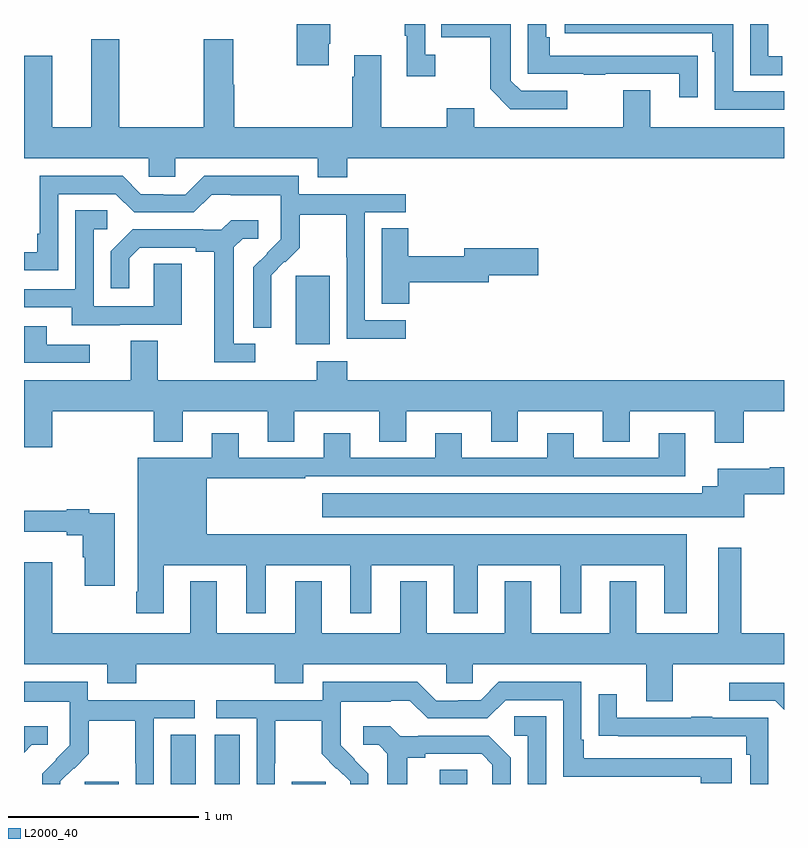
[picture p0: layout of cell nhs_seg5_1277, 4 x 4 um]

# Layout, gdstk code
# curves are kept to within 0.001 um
import gdstk
lib = gdstk.Library(unit=1e-6, precision=1e-09)
def R(c, l, rs):  # rectangles x0, y0, x1, y1
    for r in rs: c.add(gdstk.rectangle(r[:2], r[2:], *l))
def P(c, l, *ps):  # polygons
    for p in ps: c.add(gdstk.Polygon(p, *l))
L2000_40 = (2000, 40)

nhs_seg5_1277 = lib.new_cell('nhs_seg5_1277')
R(nhs_seg5_1277, L2000_40, [(189.32,854.799,189.499,854.811), (189.773,854.799,189.904,855.059), (190.004,854.799,190.135,855.059), (190.409,854.799,190.588,854.811), (191.189,854.799,191.334,854.873), (190.43,857.114,190.609,857.475)])
P(nhs_seg5_1277, L2000_40, [(192.991,858.63),(192.918,858.63),(192.918,858.799),(192.822,858.799),(192.822,858.529),(192.991,858.529)],
  [(193,858.444),(192.732,858.444),(192.732,858.799),(191.847,858.799),(191.847,858.75),(192.623,858.75),(192.623,858.653),(192.636,858.653),(192.636,858.348),(193,858.348)],
  [(191.164,858.638),(191.112,858.638),(191.112,858.799),(191.004,858.799),(191.004,858.737),(191.015,858.737),(191.015,858.525),(191.164,858.525)],
  [(190.603,858.694),(190.611,858.694),(190.611,858.799),(190.436,858.799),(190.436,858.582),(190.603,858.582)],
  [(191.86,858.447),(191.616,858.447),(191.562,858.501),(191.562,858.799),(191.197,858.799),(191.197,858.73),(191.454,858.73),(191.454,858.457),(191.559,858.351),(191.86,858.351)],
  [(192.545,858.632),(192.443,858.632),(192.443,858.633),(191.768,858.633),(191.768,858.73),(191.748,858.73),(191.748,858.799),(191.652,858.799),(191.652,858.537),(191.947,858.537),(191.947,858.532),(192.059,858.532),(192.059,858.537),(192.449,858.537),(192.449,858.414),(192.545,858.414)],
  [(190.547,857.993),(190.7,857.993),(190.7,858.092),(193,858.092),(193,858.256),(192.295,858.256),(192.295,858.451),(192.155,858.451),(192.155,858.256),(191.371,858.256),(191.371,858.355),(191.224,858.355),(191.224,858.256),(190.879,858.256),(190.879,858.634),(190.739,858.634),(190.739,858.521),(190.727,858.521),(190.727,858.256),(190.106,858.256),(190.106,858.479),(190.101,858.479),(190.101,858.718),(189.946,858.718),(189.946,858.256),(189.501,858.256),(189.501,858.718),(189.353,858.718),(189.353,858.256),(189.148,858.256),(189.148,858.631),(189,858.631),(189,858.092),(189.657,858.092),(189.657,857.994),(189.795,857.994),(189.795,858.092),(190.547,858.092)],
  [(191.008,857.241),(190.794,857.241),(190.794,857.808),(191.008,857.808),(191.008,857.904),(190.446,857.904),(190.446,858.001),(189.949,858.001),(189.849,857.901),(189.734,857.901),(189.734,857.904),(189.615,857.904),(189.519,858),(189.084,858),(189.084,857.695),(189.071,857.695),(189.071,857.598),(189,857.598),(189,857.502),(189.18,857.502),(189.18,857.904),(189.483,857.904),(189.579,857.808),(189.894,857.808),(189.987,857.901),(190.087,857.901),(190.087,857.897),(190.35,857.897),(190.35,857.763),(190.352,857.763),(190.352,857.666),(190.206,857.518),(190.206,857.2),(190.302,857.2),(190.301,857.477),(190.371,857.547),(190.374,857.544),(190.451,857.621),(190.451,857.796),(190.696,857.796),(190.696,857.572),(190.698,857.572),(190.698,857.143),(191.008,857.143)],
  [(189.505,857.217),(189.829,857.217),(189.829,857.537),(189.684,857.537),(189.684,857.313),(189.366,857.313),(189.366,857.718),(189.439,857.718),(189.439,857.819),(189.27,857.819),(189.27,857.403),(189,857.403),(189,857.307),(189.251,857.307),(189.251,857.213),(189.505,857.213)],
  [(190.216,857.115),(190.105,857.115),(190.105,857.623),(190.152,857.67),(190.234,857.67),(190.234,857.767),(190.09,857.767),(190.038,857.715),(189.944,857.715),(189.944,857.718),(189.572,857.718),(189.456,857.602),(189.456,857.409),(189.553,857.409),(189.553,857.565),(189.61,857.622),(189.905,857.622),(189.905,857.6),(190.001,857.6),(190.001,857.019),(190.216,857.019)],
  [(191.027,857.44),(191.446,857.44),(191.446,857.477),(191.707,857.477),(191.707,857.619),(191.318,857.619),(191.318,857.576),(191.022,857.576),(191.022,857.723),(190.883,857.723),(190.883,857.326),(191.027,857.326)],
  [(189.346,857.112),(189.121,857.112),(189.121,857.208),(189,857.208),(189,857.016),(189.346,857.016)],
  [(189,856.572),(189.148,856.572),(189.148,856.76),(189.683,856.76),(189.683,856.601),(189.835,856.601),(189.835,856.76),(190.283,856.76),(190.283,856.6),(190.423,856.6),(190.423,856.76),(190.871,856.76),(190.871,856.6),(191.011,856.6),(191.011,856.76),(191.459,856.76),(191.459,856.6),(191.599,856.6),(191.599,856.76),(192.047,856.76),(192.047,856.6),(192.187,856.6),(192.187,856.76),(192.635,856.76),(192.635,856.596),(192.788,856.596),(192.788,856.76),(193,856.76),(193,856.924),(190.7,856.924),(190.7,857.023),(190.54,857.023),(190.54,856.924),(189.703,856.924),(189.703,857.132),(189.563,857.132),(189.563,856.924),(189,856.924)],
  [(189.736,855.95),(190.169,855.95),(190.169,855.699),(190.273,855.699),(190.273,855.95),(190.718,855.95),(190.718,855.699),(190.828,855.699),(190.828,855.95),(191.261,855.95),(191.261,855.699),(191.389,855.699),(191.389,855.95),(191.822,855.95),(191.822,855.699),(191.932,855.699),(191.932,855.95),(192.371,855.95),(192.371,855.699),(192.487,855.699),(192.487,856.114),(189.961,856.114),(189.961,856.407),(190.481,856.407),(190.481,856.419),(192.481,856.419),(192.481,856.645),(192.341,856.645),(192.341,856.515),(191.893,856.515),(191.893,856.645),(191.753,856.645),(191.753,856.515),(191.305,856.515),(191.305,856.645),(191.165,856.645),(191.165,856.515),(190.717,856.515),(190.717,856.645),(190.577,856.645),(190.577,856.515),(190.129,856.515),(190.129,856.645),(189.989,856.645),(189.989,856.516),(189.599,856.516),(189.599,855.811),(189.592,855.811),(189.592,855.699),(189.736,855.699)],
  [(192.79,856.325),(193,856.325),(193,856.467),(192.926,856.467),(192.926,856.459),(192.65,856.459),(192.65,856.366),(192.569,856.366),(192.569,856.33),(190.569,856.33),(190.569,856.202),(192.79,856.202)],
  [(189.478,856.224),(189.344,856.224),(189.344,856.244),(189.224,856.244),(189.224,856.237),(189,856.237),(189,856.127),(189.224,856.127),(189.224,856.108),(189.308,856.108),(189.308,855.993),(189.32,855.993),(189.32,855.843),(189.478,855.843)],
  [(189.875,855.865),(189.875,855.592),(189.148,855.592),(189.148,855.967),(189,855.967),(189,855.428),(189.437,855.428),(189.437,855.329),(189.59,855.329),(189.59,855.428),(190.319,855.428),(190.319,855.329),(190.471,855.329),(190.471,855.428),(191.223,855.428),(191.223,855.33),(191.361,855.33),(191.361,855.428),(192.275,855.428),(192.275,855.234),(192.415,855.234),(192.415,855.428),(193,855.428),(193,855.592),(192.775,855.592),(192.775,856.042),(192.653,856.042),(192.653,855.592),(192.223,855.592),(192.223,855.865),(192.083,855.865),(192.083,855.592),(191.671,855.592),(191.671,855.865),(191.531,855.865),(191.531,855.592),(191.119,855.592),(191.119,855.865),(190.979,855.865),(190.979,855.592),(190.567,855.592),(190.567,855.865),(190.427,855.865),(190.427,855.592),(190.015,855.592),(190.015,855.865)],
  [(189.191,854.813),(189.261,854.883),(189.264,854.88),(189.341,854.957),(189.341,855.132),(189.586,855.132),(189.586,854.908),(189.588,854.908),(189.588,854.799),(189.684,854.799),(189.684,855.144),(189.898,855.144),(189.898,855.24),(189.336,855.24),(189.336,855.337),(189,855.337),(189,855.233),(189.24,855.233),(189.24,855.099),(189.242,855.099),(189.242,855.002),(189.096,854.854),(189.096,854.799),(189.191,854.799)],
  [(190.32,854.908),(190.323,854.908),(190.323,855.132),(190.567,855.132),(190.567,854.957),(190.644,854.88),(190.647,854.883),(190.718,854.813),(190.718,854.799),(190.812,854.799),(190.812,854.854),(190.666,855.002),(190.666,855.099),(190.668,855.099),(190.668,855.233),(190.931,855.233),(190.931,855.237),(191.031,855.237),(191.124,855.144),(191.439,855.144),(191.535,855.24),(191.838,855.24),(191.838,854.838),(192.563,854.838),(192.563,854.804),(192.724,854.804),(192.724,854.934),(191.947,854.934),(191.947,855.031),(191.934,855.031),(191.934,855.336),(191.499,855.336),(191.403,855.24),(191.285,855.24),(191.285,855.237),(191.169,855.237),(191.069,855.337),(190.572,855.337),(190.572,855.24),(190.011,855.24),(190.011,855.144),(190.224,855.144),(190.224,854.799),(190.32,854.799)],
  [(193,855.333),(192.711,855.333),(192.711,855.237),(192.954,855.237),(193,855.191)],
  [(192.918,855.147),(192.623,855.147),(192.623,855.152),(192.511,855.152),(192.511,855.147),(192.121,855.147),(192.121,855.271),(192.025,855.271),(192.025,855.052),(192.127,855.052),(192.127,855.051),(192.802,855.051),(192.802,854.954),(192.822,854.954),(192.822,854.799),(192.918,854.799)],
  [(191.748,855.155),(191.58,855.155),(191.58,855.054),(191.652,855.054),(191.652,854.799),(191.748,854.799)],
  [(189.042,855.006),(189.124,855.006),(189.124,855.103),(189,855.103),(189,854.964)],
  [(191.017,854.936),(191.113,854.936),(191.113,854.958),(191.408,854.958),(191.465,854.901),(191.465,854.799),(191.562,854.799),(191.562,854.938),(191.446,855.054),(191.074,855.054),(191.074,855.051),(190.98,855.051),(190.928,855.103),(190.785,855.103),(190.785,855.006),(190.866,855.006),(190.913,854.959),(190.913,854.799),(191.017,854.799)])

lib.write_gds('nhs_seg5_1277.gds')
